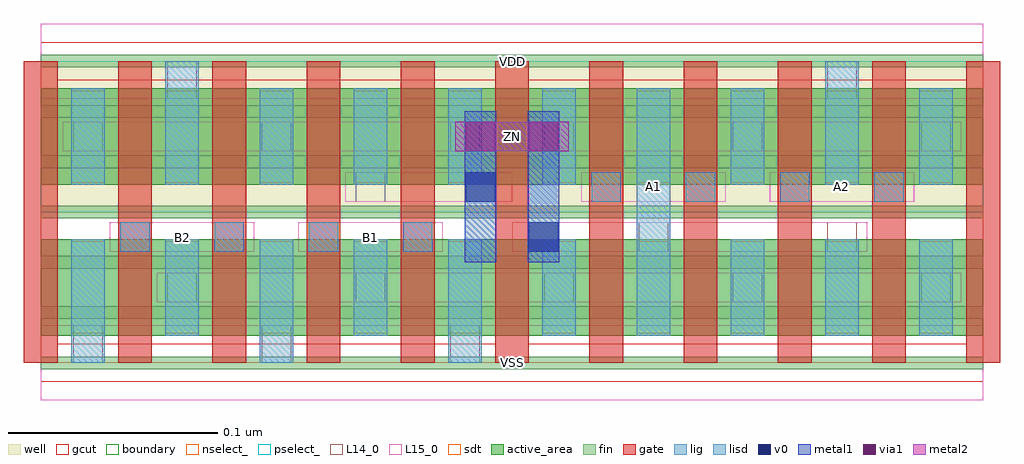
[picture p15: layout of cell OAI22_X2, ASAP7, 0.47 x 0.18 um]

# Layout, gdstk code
import gdstk
lib = gdstk.Library(unit=1e-6, precision=2.5e-10)
def R(c, l, rs):  # rectangles x0, y0, x1, y1
    for r in rs: c.add(gdstk.rectangle(r[:2], r[2:], *l))
def A(c, l, x, y, w, h, nx, ny, dx, dy):  # array of equal rectangles
    R(c, l, [(x+i*dx, y+j*dy, x+i*dx+w, y+j*dy+h) for i in range(nx) for j in range(ny)])
def P(c, l, *ps):  # polygons
    for p in ps: c.add(gdstk.Polygon(p, *l))
well = (1, 0)
fin = (2, 0)
gate = (7, 0)
gcut = (10, 0)
active_area = (11, 0)
nselect_ = (12, 0)
pselect_ = (13, 0)
L14_0 = (14, 0)
L15_0 = (15, 0)
lig = (16, 0)
lisd = (17, 0)
v0 = (18, 0)
metal1 = (19, 0)
metal2 = (20, 0)
via1 = (21, 0)
sdt = (88, 0)
boundary = (100, 0)

oai22_x2 = lib.new_cell('OAI22_X2')
R(oai22_x2, well, [(0,0.072,0.45,0.144)])
A(oai22_x2, fin, 0, -0.003, 0.45, 0.006, 1, 7, 0, 0.024)
A(oai22_x2, gate, -0.008, 0, 0.016, 0.144, 11, 1, 0.045, 0)
P(oai22_x2, gcut, [(0,-0.009),(0,0),(-0.008,0),(-0.008,0.135),(0.008,0.135),(0.008,0.009),(0.217,0.009),(0.217,0.135),(0.233,0.135),(0.233,0.009),(0.442,0.009),(0.442,0.135),(-0.008,0.135),(-0.008,0.144),(0,0.144),(0,0.153),(0.45,0.153),(0.45,0.144),(0.458,0.144),(0.458,0),(0.45,0),(0.45,-0.009)])
R(oai22_x2, active_area, [(0,0.013,0.45,0.059), (0,0.085,0.45,0.131)])
R(oai22_x2, nselect_, [(0,0,0.45,0.072)])
R(oai22_x2, pselect_, [(0,0.072,0.45,0.144)])
A(oai22_x2, L14_0, 0.0155, 0, 0.014, 0.018, 3, 1, 0.09, 0)
A(oai22_x2, L14_0, 0.0605, 0.029, 0.014, 0.014, 5, 1, 0.09, 0)
A(oai22_x2, L14_0, 0.038, 0.053, 0.014, 0.014, 4, 1, 0.045, 0)
A(oai22_x2, L14_0, 0.263, 0.077, 0.014, 0.014, 4, 1, 0.045, 0)
A(oai22_x2, L14_0, 0.0155, 0.101, 0.014, 0.014, 3, 1, 0.09, 0)
A(oai22_x2, L14_0, 0.2405, 0.101, 0.014, 0.014, 3, 1, 0.09, 0)
R(oai22_x2, L14_0, [(0.2855,0.053,0.2995,0.067), (0.3755,0.053,0.3895,0.067), (0.1505,0.077,0.1645,0.091), (0.0605,0.126,0.0745,0.144), (0.3755,0.126,0.3895,0.144)])
R(oai22_x2, L15_0, [(0,-0.018,0.45,0.018), (0.0555,0.029,0.4395,0.043), (0.033,0.053,0.102,0.067), (0.123,0.053,0.192,0.067), (0.225,0.053,0.3945,0.067), (0.1455,0.077,0.225,0.091), (0.258,0.077,0.327,0.091), (0.348,0.077,0.417,0.091), (0.0105,0.101,0.2145,0.115), (0.2355,0.101,0.4395,0.115), (0,0.126,0.45,0.162)])
A(oai22_x2, lig, 0.038, 0.053, 0.014, 0.014, 4, 1, 0.045, 0)
A(oai22_x2, lig, 0.263, 0.077, 0.014, 0.014, 4, 1, 0.045, 0)
A(oai22_x2, lisd, 0.0145, 0, 0.016, 0.059, 3, 1, 0.09, 0)
A(oai22_x2, lisd, 0.0595, 0.013, 0.016, 0.046, 4, 1, 0.09, 0)
A(oai22_x2, lisd, 0.1045, 0.085, 0.016, 0.046, 4, 1, 0.045, 0)
R(oai22_x2, lisd, [(0.2845,0.013,0.3005,0.131), (0.3745,0.013,0.3905,0.059), (0.4195,0.013,0.4355,0.059), (0.0145,0.085,0.0305,0.131), (0.0595,0.085,0.0755,0.144), (0.3295,0.085,0.3455,0.131), (0.3745,0.085,0.3905,0.144), (0.4195,0.085,0.4355,0.131)])
R(oai22_x2, v0, [(0.233,0.053,0.247,0.067), (0.203,0.077,0.217,0.091)])
R(oai22_x2, metal1, [(0.2025,0.048,0.2175,0.12), (0.2325,0.048,0.2475,0.12)])
R(oai22_x2, metal2, [(0.198,0.101,0.252,0.115)])
R(oai22_x2, via1, [(0.203,0.101,0.217,0.115), (0.233,0.101,0.247,0.115)])
A(oai22_x2, sdt, 0.0145, 0.014, 0.016, 0.044, 10, 2, 0.045, 0.072)
R(oai22_x2, boundary, [(0,0,0.45,0.144)])
oai22_x2.add(gdstk.Label('B1', (0.1575,0.06), layer=15, texttype=251))
oai22_x2.add(gdstk.Label('VSS', (0.225,0), layer=15, texttype=251))
oai22_x2.add(gdstk.Label('VDD', (0.225,0.144), layer=15, texttype=251))
oai22_x2.add(gdstk.Label('A1', (0.2925,0.084), layer=15, texttype=251))
oai22_x2.add(gdstk.Label('VSS', (0.225,0), layer=15, texttype=251))
oai22_x2.add(gdstk.Label('VDD', (0.225,0.144), layer=15, texttype=251))
oai22_x2.add(gdstk.Label('VSS', (0.225,0), layer=15, texttype=251))
oai22_x2.add(gdstk.Label('VDD', (0.225,0.144), layer=15, texttype=251))
oai22_x2.add(gdstk.Label('A2', (0.3825,0.084), layer=15, texttype=251))
oai22_x2.add(gdstk.Label('VSS', (0.225,0), layer=15, texttype=251))
oai22_x2.add(gdstk.Label('VDD', (0.225,0.144), layer=15, texttype=251))
oai22_x2.add(gdstk.Label('B2', (0.0675,0.06), layer=15, texttype=251))
oai22_x2.add(gdstk.Label('VSS', (0.225,0), layer=15, texttype=251))
oai22_x2.add(gdstk.Label('VDD', (0.225,0.144), layer=15, texttype=251))
oai22_x2.add(gdstk.Label('VSS', (0.225,0), layer=3, texttype=251))
oai22_x2.add(gdstk.Label('VSS', (0.225,0), layer=3, texttype=251))
oai22_x2.add(gdstk.Label('VSS', (0.225,0), layer=3, texttype=251))
oai22_x2.add(gdstk.Label('VSS', (0.225,0), layer=3, texttype=251))
oai22_x2.add(gdstk.Label('VSS', (0.225,0), layer=3, texttype=251))
oai22_x2.add(gdstk.Label('VDD', (0.225,0.144), layer=1, texttype=251))
oai22_x2.add(gdstk.Label('VDD', (0.225,0.144), layer=1, texttype=251))
oai22_x2.add(gdstk.Label('VDD', (0.225,0.144), layer=1, texttype=251))
oai22_x2.add(gdstk.Label('VDD', (0.225,0.144), layer=1, texttype=251))
oai22_x2.add(gdstk.Label('VDD', (0.225,0.144), layer=1, texttype=251))
oai22_x2.add(gdstk.Label('ZN', (0.225,0.108), layer=20, texttype=251))

lib.write_gds('OAI22_X2.gds')
